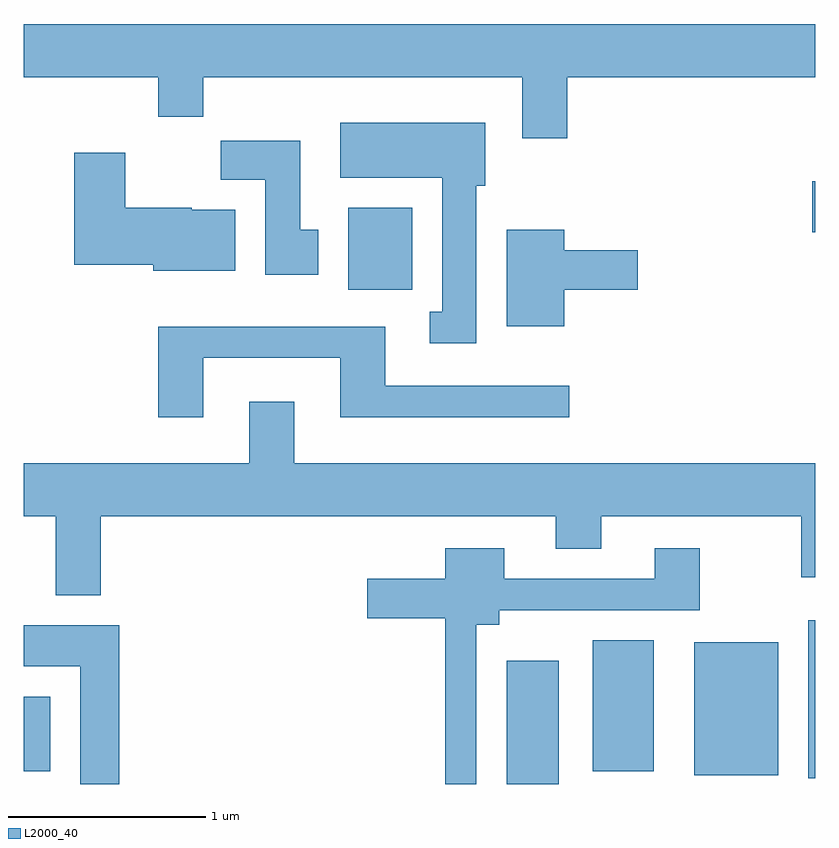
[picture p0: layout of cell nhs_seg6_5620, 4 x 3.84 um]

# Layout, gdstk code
import gdstk
lib = gdstk.Library(unit=1e-6, precision=1e-09)
def R(c, l, rs):  # rectangles x0, y0, x1, y1
    for r in rs: c.add(gdstk.rectangle(r[:2], r[2:], *l))
def P(c, l, *ps):  # polygons
    for p in ps: c.add(gdstk.Polygon(p, *l))
L2000_40 = (2000, 40)

nhs_seg6_5620 = lib.new_cell('nhs_seg6_5620')
R(nhs_seg6_5620, L2000_40, [(358.051,1624.162,358.314,1624.784), (359.576,1624.191,359.611,1624.989), (359.001,1624.206,359.424,1624.879), (355.611,1624.226,355.744,1624.604), (358.486,1624.226,358.794,1624.889), (357.251,1626.661,357.574,1627.074), (359.596,1626.951,359.611,1627.209)])
P(nhs_seg6_5620, L2000_40, [(358.359,1627.736),(359.611,1627.736),(359.611,1628.004),(355.611,1628.004),(355.611,1627.736),(356.291,1627.736),(356.291,1627.536),(356.519,1627.536),(356.519,1627.736),(358.131,1627.736),(358.131,1627.426),(358.359,1627.426)],
  [(357.899,1627.186),(357.944,1627.186),(357.944,1627.504),(357.211,1627.504),(357.211,1627.226),(357.726,1627.226),(357.726,1626.549),(357.663,1626.549),(357.663,1626.391),(357.899,1626.391)],
  [(357.099,1626.964),(357.009,1626.964),(357.009,1627.414),(356.606,1627.414),(356.606,1627.216),(356.831,1627.216),(356.831,1626.736),(357.099,1626.736)],
  [(356.679,1627.064),(356.46,1627.064),(356.46,1627.074),(356.124,1627.074),(356.124,1627.354),(355.866,1627.354),(355.866,1626.786),(356.266,1626.786),(356.266,1626.756),(356.679,1626.756)],
  [(358.344,1626.661),(358.714,1626.661),(358.714,1626.859),(358.344,1626.859),(358.344,1626.964),(358.051,1626.964),(358.051,1626.476),(358.344,1626.476)],
  [(356.519,1626.316),(357.211,1626.316),(357.211,1626.016),(358.368,1626.016),(358.368,1626.174),(357.439,1626.174),(357.439,1626.474),(356.291,1626.474),(356.291,1626.016),(356.519,1626.016)],
  [(355.999,1625.516),(358.301,1625.516),(358.301,1625.351),(358.529,1625.351),(358.529,1625.516),(359.541,1625.516),(359.541,1625.206),(359.611,1625.206),(359.611,1625.784),(356.979,1625.784),(356.979,1626.094),(356.751,1626.094),(356.751,1625.784),(355.611,1625.784),(355.611,1625.516),(355.771,1625.516),(355.771,1625.116),(355.999,1625.116)],
  [(357.899,1624.966),(358.014,1624.966),(358.014,1625.041),(359.029,1625.041),(359.029,1625.354),(358.801,1625.354),(358.801,1625.199),(358.039,1625.199),(358.039,1625.354),(357.741,1625.354),(357.741,1625.199),(357.346,1625.199),(357.346,1625.001),(357.741,1625.001),(357.741,1624.162),(357.899,1624.162)],
  [(356.094,1624.964),(355.611,1624.964),(355.611,1624.756),(355.896,1624.756),(355.896,1624.162),(356.094,1624.162)])

lib.write_gds('nhs_seg6_5620.gds')
